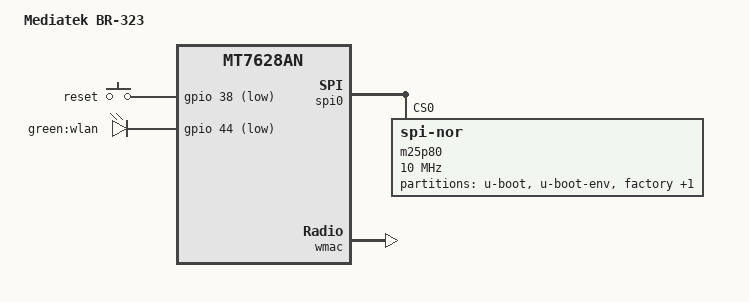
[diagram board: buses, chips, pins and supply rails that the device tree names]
#include "mt7628an.dtsi"

//#include "mt7628an_tplink_8m.dtsi"

#include <dt-bindings/gpio/gpio.h>
#include <dt-bindings/input/input.h>


/ {
	compatible = "mediatek,br-323", "mediatek,mt7628an-soc";
	model = "Mediatek BR-323";


       aliases {
                led-boot = &led_wlan;
                led-failsafe = &led_wlan;
                led-running = &led_wlan;
                led-upgrade = &led_wlan;
        };


        keys {
                compatible = "gpio-keys";

                reset {
                        label = "reset";
                        gpios = <&gpio 38 GPIO_ACTIVE_LOW>;
                        linux,code = <KEY_RESTART>;
                };
        };


       leds {
             	compatible = "gpio-leds";

                led_wlan: wlan {
   	                label = "green:wlan";
                        gpios = <&gpio 44 GPIO_ACTIVE_LOW>;
                };

        };


};

&spi0 {
	status = "okay";

	m25p80@0 {
		compatible = "jedec,spi-nor";
		reg = <0>;
		spi-max-frequency = <10000000>;

		partitions {
			compatible = "fixed-partitions";
			#address-cells = <1>;
			#size-cells = <1>;

			partition@0 {
				label = "u-boot";
				reg = <0x0 0x30000>;
				read-only;
			};

			partition@30000 {
				label = "u-boot-env";
				reg = <0x30000 0x10000>;
				read-only;
			};

			factory: partition@40000 {
				label = "factory";
				reg = <0x40000 0x10000>;
				read-only;
			};

			partition@50000 {
				compatible = "denx,uimage";
				label = "firmware";
				reg = <0x50000 0x7b0000>;
			};
		};
	};
};

&ehci {
        status = "disabled";
};

&ohci {
        status = "disabled";
};


&wmac {
        status = "okay";
//        mtd-mac-address = <&factory 0x0000028>;
};

&ethernet {
        mtd-mac-address = <&factory 0x28>;
	mtd-mac-address-increment = <(1)>;
        mediatek,portmap = "llllw";
};

//&esw {
//        mediatek,portmap = <0xf>;
//};

&state_default {

               gpio {
                       ralink,group = "gpio","wdt";
                       ralink,function = "gpio";
               };

};
